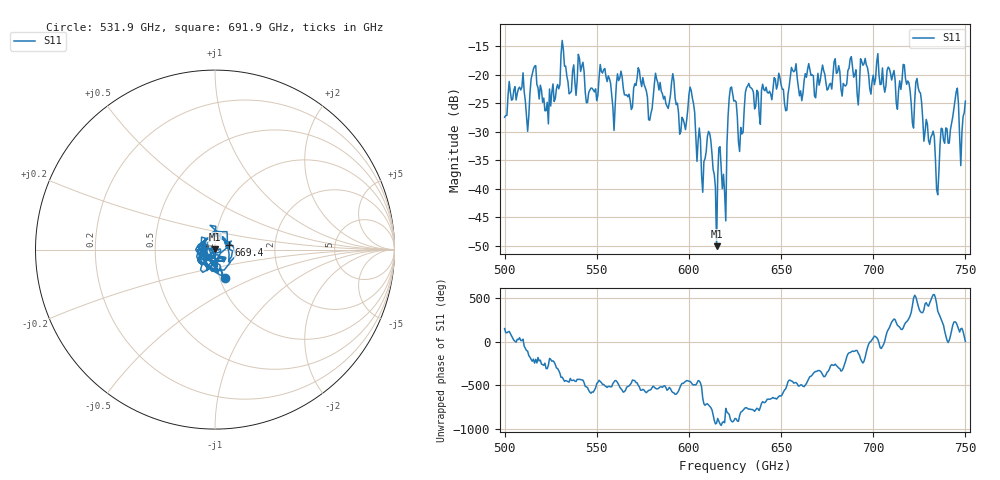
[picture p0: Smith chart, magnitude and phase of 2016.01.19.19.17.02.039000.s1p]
!Created with skrf (http://scikit-rf.org).
# GHz S RI R 50.0
!freq ReS11 ImS11
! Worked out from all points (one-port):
!   401 points, 500 GHz to 750 GHz, reference 50 ohm
!   lowest |S11| = -50.0 dB at 615 GHz (marker M1), VSWR 1.01, Z = 49.7 + j0.175 ohm
!   |S11| at or under -10 dB: start of sweep to end of sweep
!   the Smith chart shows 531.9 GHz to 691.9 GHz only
!   S11 on the Smith chart (normalised r, x): 531.9 GHz: 1.06, -0.34; 669.4 GHz: 1.16, +0.06; 691.9 GHz: 0.92, -0.07
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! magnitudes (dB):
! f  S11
! 500 GHz  -27.4
! 508.8 GHz  -22.7
! 512.5 GHz  -29.9
! 515.6 GHz  -19.0
! 522.5 GHz  -26.3
! 531.2 GHz  -14.0
! 531.9 GHz  -15.6
! 545 GHz  -24.8
! 562.5 GHz  -20.6
! 593.8 GHz  -25.0
! 601.2 GHz  -22.8
! 607.5 GHz  -40.6
! 611.2 GHz  -30.2
! 615 GHz  -50.0
! 619.4 GHz  -40.7
! 622.5 GHz  -22.3
! 625 GHz  -24.5
! 628.1 GHz  -29.2
! 631.9 GHz  -22.0
! 656.2 GHz  -19.2
! 669.4 GHz  -21.8
! 687.5 GHz  -17.2
! 691.9 GHz  -25.3
! 718.8 GHz  -21.1
! 735 GHz  -41.0
! 744.4 GHz  -24.5
! 748.1 GHz  -30.0
! 750 GHz  -24.6
